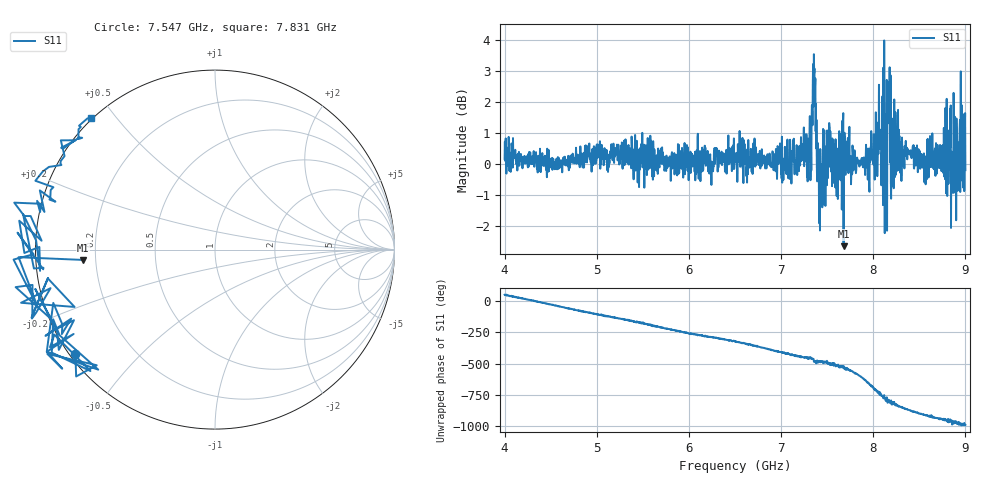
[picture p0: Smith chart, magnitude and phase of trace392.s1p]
! Created with skrf 1.8.0 (http://scikit-rf.org).
# Hz S RI R 50.0
!freq ReS11 ImS11
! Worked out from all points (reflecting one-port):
!   1601 points, 4 GHz to 9 GHz, reference 50 ohm
!   lowest |S11| = -2.6 dB at 7.678 GHz (marker M1), VSWR 6.62, Z = 7.57 - j1.91 ohm
!   phase of S11 starts at 53 deg and turns -1043 deg over the sweep
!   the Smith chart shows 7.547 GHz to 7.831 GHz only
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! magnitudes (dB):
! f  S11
! 4 GHz  0.2
! 4.625 GHz  -0.3
! 5.25 GHz  0.0
! 5.875 GHz  -0.1
! 6.5 GHz  0.1
! 7.125 GHz  0.4
! 7.303 GHz  0.4
! 7.359 GHz  2.9
! 7.412 GHz  -1.6
! 7.438 GHz  -0.8
! 7.538 GHz  0.7
! 7.591 GHz  0.8
! 7.65 GHz  0.5
! 7.678 GHz  -2.6
! 7.75 GHz  0.2
! 7.934 GHz  0.2
! 8.034 GHz  0.3
! 8.097 GHz  0.9
! 8.128 GHz  1.3
! 8.178 GHz  3.1
! 8.216 GHz  1.1
! 8.375 GHz  0.5
! 8.556 GHz  -0.6
! 8.766 GHz  1.2
! 8.816 GHz  -0.6
! 8.869 GHz  -0.6
! 8.956 GHz  0.3
! 9 GHz  -0.2
